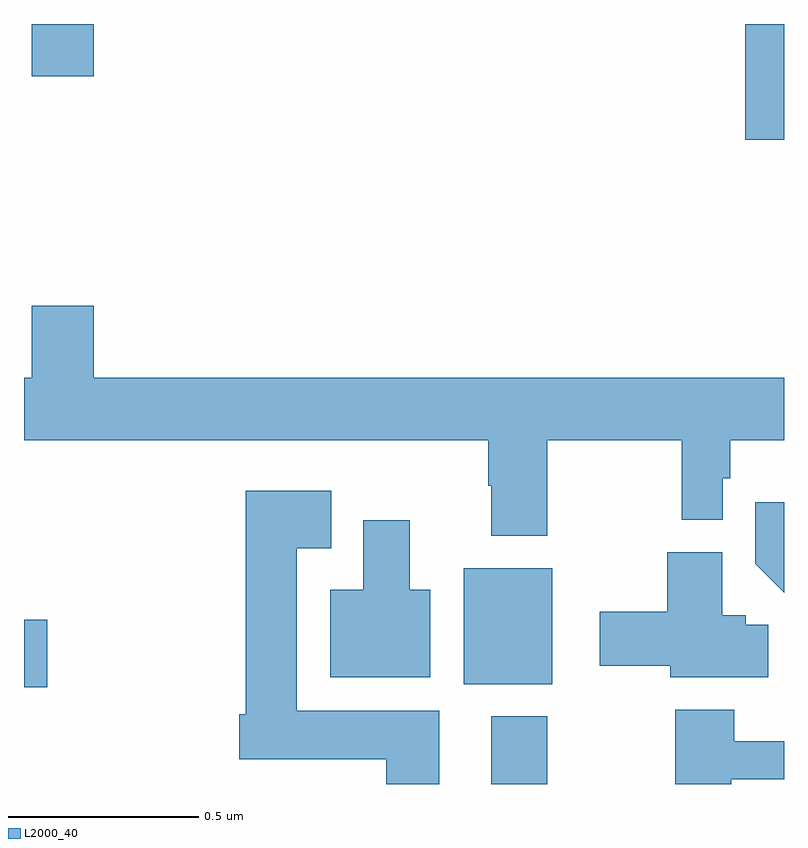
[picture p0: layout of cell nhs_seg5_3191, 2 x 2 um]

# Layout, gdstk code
import gdstk
lib = gdstk.Library(unit=1e-6, precision=1e-09)
def R(c, l, rs):  # rectangles x0, y0, x1, y1
    for r in rs: c.add(gdstk.rectangle(r[:2], r[2:], *l))
def P(c, l, *ps):  # polygons
    for p in ps: c.add(gdstk.Polygon(p, *l))
L2000_40 = (2000, 40)

nhs_seg5_3191 = lib.new_cell('nhs_seg5_3191')
R(nhs_seg5_3191, L2000_40, [(154.229,911.799,154.377,911.977), (153,912.053,153.061,912.231), (154.157,912.062,154.39,912.367), (154.898,913.494,155,913.799), (153.02,913.662,153.184,913.799)])
P(nhs_seg5_3191, L2000_40, [(154.377,912.704),(154.731,912.704),(154.731,912.494),(154.839,912.494),(154.839,912.603),(154.859,912.603),(154.859,912.704),(155,912.704),(155,912.868),(153.184,912.868),(153.184,913.057),(153.02,913.057),(153.02,912.868),(153,912.868),(153,912.704),(154.222,912.704),(154.222,912.584),(154.229,912.584),(154.229,912.452),(154.377,912.452)],
  [(154.093,911.992),(153.718,911.992),(153.718,912.419),(153.808,912.419),(153.808,912.571),(153.584,912.571),(153.584,911.982),(153.566,911.982),(153.566,911.864),(153.953,911.864),(153.953,911.799),(154.093,911.799)],
  [(155,912.541),(154.924,912.541),(154.924,912.378),(155,912.302)],
  [(154.069,912.31),(154.015,912.31),(154.015,912.493),(153.893,912.493),(153.893,912.31),(153.806,912.31),(153.806,912.08),(154.069,912.08)],
  [(154.958,912.218),(154.899,912.218),(154.899,912.243),(154.837,912.243),(154.837,912.409),(154.693,912.409),(154.693,912.252),(154.515,912.252),(154.515,912.11),(154.7,912.11),(154.7,912.08),(154.958,912.08)],
  [(154.861,911.811),(155,911.811),(155,911.911),(154.869,911.911),(154.869,911.995),(154.714,911.995),(154.714,911.799),(154.861,911.799)])

lib.write_gds('nhs_seg5_3191.gds')
